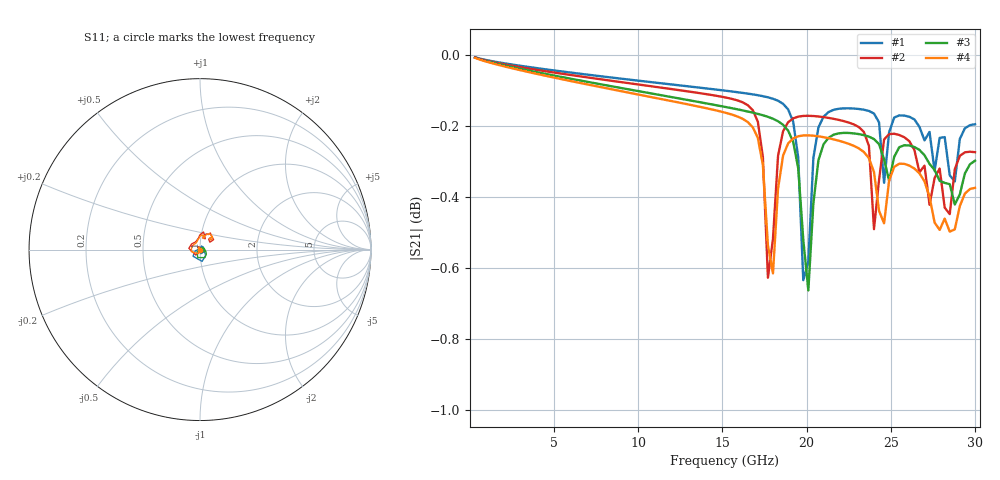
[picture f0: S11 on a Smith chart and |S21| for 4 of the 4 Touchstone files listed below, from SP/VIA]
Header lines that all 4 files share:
! List of port names and net name(s): example Port n = <port_name> <net_name1> <net_name2> ...
! Port 1 = P1 P2 gnd!
! Port 2 = P2 P2 P4
# hz S ri R 50
! 2 Port Network Data from data block
! freq  reS11  imS11  reS21  imS21  reS12  imS12  reS22  imS22
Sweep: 300 MHz to 30 GHz
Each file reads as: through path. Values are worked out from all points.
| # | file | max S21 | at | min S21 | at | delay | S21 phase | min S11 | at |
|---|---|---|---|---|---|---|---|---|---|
| 1 | GL102_400um.s2p | -0.01 dB | 300 MHz | -0.6 dB | 19.8 GHz | 13.7 ps | -75 deg at 15.3 GHz | -65.5 dB | 29.7 GHz |
| 2 | GL102_800um.s2p | -0.01 dB | 300 MHz | -0.6 dB | 17.7 GHz | 16.6 ps | -92 deg at 15.3 GHz | -67.1 dB | 4.8 GHz |
| 3 | GX13_400um.s2p | -0.01 dB | 300 MHz | -0.7 dB | 20.1 GHz | 13.5 ps | -74 deg at 15.3 GHz | -60.0 dB | 300 MHz |
| 4 | GX13_800um.s2p | -0.01 dB | 300 MHz | -0.6 dB | 18 GHz | 16.4 ps | -91 deg at 15.3 GHz | -63.5 dB | 300 MHz |
